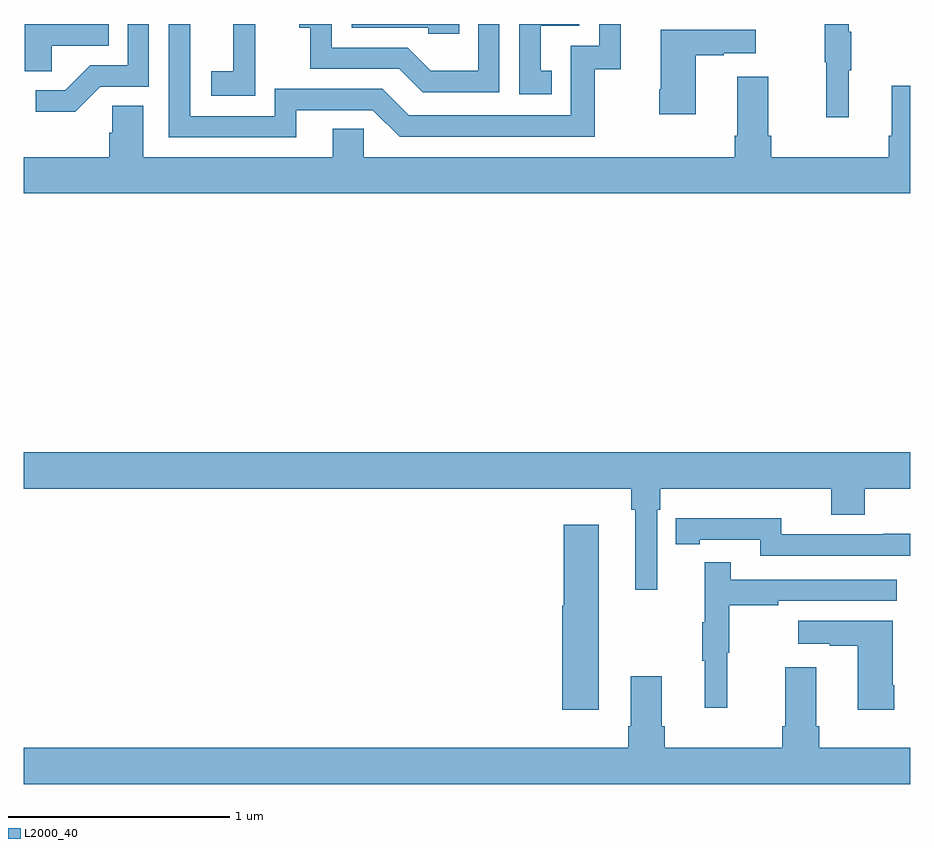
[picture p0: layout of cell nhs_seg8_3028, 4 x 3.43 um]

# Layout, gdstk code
import gdstk
lib = gdstk.Library(unit=1e-6, precision=1e-09)
def P(c, l, *ps):  # polygons
    for p in ps: c.add(gdstk.Polygon(p, *l))
L2000_40 = (2000, 40)

nhs_seg8_3028 = lib.new_cell('nhs_seg8_3028')
P(nhs_seg8_3028, L2000_40, [(301.146,1147.9),(301.05,1147.9),(301.05,1147.69),(300.836,1147.69),(300.732,1147.794),(300.39,1147.794),(300.39,1147.9),(300.243,1147.9),(300.243,1147.883),(300.292,1147.883),(300.292,1147.698),(300.695,1147.698),(300.8,1147.593),(301.146,1147.593)],
  [(300.965,1147.9),(300.48,1147.9),(300.48,1147.884),(300.825,1147.884),(300.825,1147.857),(300.965,1147.857)],
  [(300.045,1147.783),(300.044,1147.783),(300.044,1147.9),(299.945,1147.9),(299.945,1147.687),(299.847,1147.687),(299.847,1147.577),(300.045,1147.577)],
  [(300.229,1147.512),(300.576,1147.512),(300.696,1147.392),(301.576,1147.392),(301.576,1147.695),(301.694,1147.695),(301.694,1147.9),(301.596,1147.9),(301.596,1147.803),(301.467,1147.803),(301.467,1147.488),(300.738,1147.488),(300.618,1147.608),(300.132,1147.608),(300.132,1147.485),(299.751,1147.485),(299.751,1147.9),(299.655,1147.9),(299.655,1147.389),(300.229,1147.389)],
  [(301.382,1147.689),(301.333,1147.689),(301.333,1147.893),(301.506,1147.893),(301.506,1147.9),(301.236,1147.9),(301.236,1147.584),(301.382,1147.584)],
  [(299.127,1147.802),(299.384,1147.802),(299.384,1147.9),(299.006,1147.9),(299.006,1147.687),(299.127,1147.687)],
  [(299.346,1147.617),(299.565,1147.617),(299.565,1147.9),(299.469,1147.9),(299.469,1147.713),(299.3,1147.713),(299.189,1147.602),(299.055,1147.602),(299.055,1147.505),(299.233,1147.505)],
  [(302.723,1147.691),(302.734,1147.691),(302.734,1147.865),(302.723,1147.865),(302.723,1147.9),(302.613,1147.9),(302.613,1147.728),(302.62,1147.728),(302.62,1147.479),(302.723,1147.479)],
  [(302.032,1147.759),(302.159,1147.759),(302.159,1147.769),(302.302,1147.769),(302.302,1147.873),(301.874,1147.873),(301.874,1147.606),(301.867,1147.606),(301.867,1147.494),(302.032,1147.494)],
  [(303,1147.621),(302.915,1147.621),(302.915,1147.396),(302.903,1147.396),(302.903,1147.3),(302.372,1147.3),(302.372,1147.396),(302.359,1147.396),(302.359,1147.663),(302.219,1147.663),(302.219,1147.396),(302.207,1147.396),(302.207,1147.3),(300.534,1147.3),(300.534,1147.427),(300.395,1147.427),(300.395,1147.3),(299.539,1147.3),(299.539,1147.532),(299.4,1147.532),(299.4,1147.409),(299.387,1147.409),(299.387,1147.3),(299,1147.3),(299,1147.136),(303,1147.136)],
  [(301.857,1145.708),(301.871,1145.708),(301.871,1145.804),(302.642,1145.804),(302.642,1145.687),(302.795,1145.687),(302.795,1145.804),(303,1145.804),(303,1145.968),(299,1145.968),(299,1145.804),(301.741,1145.804),(301.741,1145.708),(301.76,1145.708),(301.76,1145.349),(301.857,1145.349)],
  [(303,1145.6),(302.878,1145.6),(302.878,1145.598),(302.418,1145.598),(302.418,1145.671),(302.05,1145.671),(302.05,1145.67),(301.942,1145.67),(301.942,1145.554),(302.05,1145.554),(302.05,1145.574),(302.322,1145.574),(302.322,1145.502),(303,1145.502)],
  [(301.594,1145.641),(301.436,1145.641),(301.436,1145.277),(301.43,1145.277),(301.43,1144.806),(301.594,1144.806)],
  [(302.174,1145.064),(302.182,1145.064),(302.182,1145.278),(302.405,1145.278),(302.405,1145.298),(302.938,1145.298),(302.938,1145.394),(302.189,1145.394),(302.189,1145.473),(302.072,1145.473),(302.072,1145.201),(302.061,1145.201),(302.061,1145.027),(302.072,1145.027),(302.072,1144.815),(302.174,1144.815)],
  [(302.928,1144.918),(302.92,1144.918),(302.92,1145.209),(302.493,1145.209),(302.493,1145.105),(302.636,1145.105),(302.636,1145.095),(302.762,1145.095),(302.762,1144.806),(302.928,1144.806)],
  [(303,1144.636),(302.588,1144.636),(302.588,1144.732),(302.575,1144.732),(302.575,1144.999),(302.435,1144.999),(302.435,1144.732),(302.423,1144.732),(302.423,1144.636),(301.892,1144.636),(301.892,1144.732),(301.879,1144.732),(301.879,1144.957),(301.739,1144.957),(301.739,1144.732),(301.727,1144.732),(301.727,1144.636),(299,1144.636),(299,1144.472),(303,1144.472)])

lib.write_gds('nhs_seg8_3028.gds')
